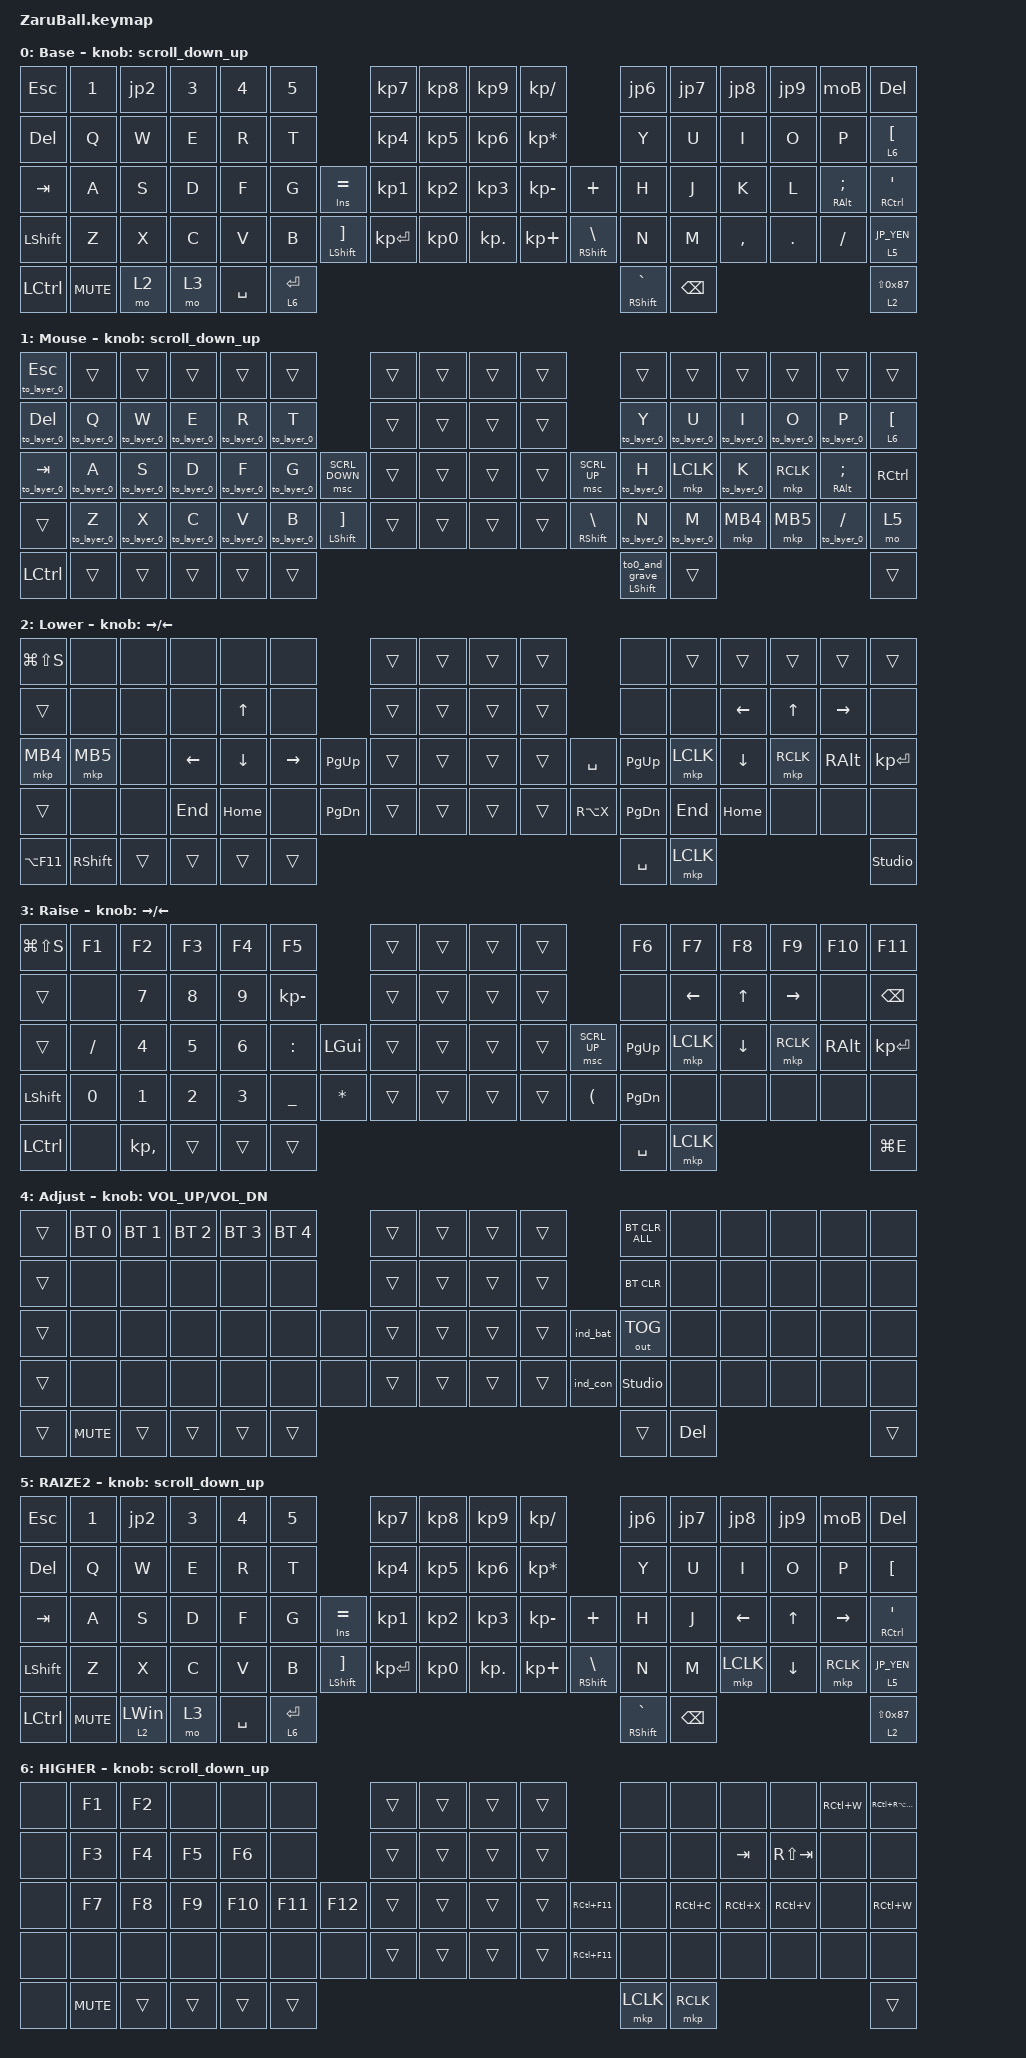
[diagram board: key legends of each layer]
        //#include <dt-bindings/zmk/mouse.h>

#include <behaviors/rgbled_widget.dtsi>
#include <input/processors.dtsi>
#include <dt-bindings/zmk/input_transform.h>
#include <behaviors.dtsi>
#include <dt-bindings/zmk/bt.h>
#include <dt-bindings/zmk/keys.h>
#include <dt-bindings/zmk/outputs.h>
#include <dt-bindings/zmk/pointing.h>

#define BASE     0
#define MOUSE    1
#define LOWER    2
#define RAISE    3
#define ADJUST   4
#define RAIZE2   5
#define HIGHER   6
#define SCROLL   2

// OS設定を日本語キーボードのまま使用するための変換定義
#define JP_DQUOTE       AT                // "
#define JP_AMPERSAND    CARET             // &
#define JP_QUOTE        AMPERSAND         // '
#define JP_EQUAL        UNDER             // =
#define JP_CARET        EQUAL             // ^
#define JP_YEN          0x89              // ¥
#define JP_PLUS         COLON             // +
#define JP_TILDE        PLUS              // ~
#define JP_PIPE         LS(0x89)          // |
#define JP_AT           LEFT_BRACKET      // @
#define JP_COLON        SINGLE_QUOTE      // :
#define JP_ASTERISK     DOUBLE_QUOTES     // *
#define JP_BACKQUOTE    LEFT_BRACE        // `
#define JP_UNDERSCORE   LS(0x87)          // _
#define JP_LBRACKET     RIGHT_BRACKET     // [
#define JP_RBRACKET     BACKSLASH         // ]
#define JP_LPAREN       ASTERISK          // (
#define JP_RPAREN       LEFT_PARENTHESIS  // )
#define JP_LBRACE       RIGHT_BRACE       // {
#define JP_RBRACE       PIPE              // }
#define JP_KANA         LANGUAGE_1        // かな
#define JP_EISU         LANGUAGE_2        // 英数
#define JP_HANZEN       GRAVE             // 半角/全角
#define JP_BSLH  INT1         // (backslash)

// スクロール量の設定

#define ZMK_POINTING_DEFAULT_SCRL_VAL 120


&trackball_listener {
    input-processors = <
        &zip_xy_transform (INPUT_TRANSFORM_XY_SWAP | INPUT_TRANSFORM_Y_INVERT | INPUT_TRANSFORM_X_INVERT)
        &zip_temp_layer MOUSE 700
    >;

    scroller {
        layers = <SCROLL>;
        input-processors = <
            &zip_xy_transform (INPUT_TRANSFORM_XY_SWAP | INPUT_TRANSFORM_X_INVERT)
            &zip_xy_scaler 1 20
            &zip_xy_to_scroll_mapper
        >;
    };
};

/ {
    conditional_layers {
        compatible = "zmk,conditional-layers";

        tri_layer {
            if-layers = <2 3>;
            then-layer = <4>;
        };
    };
};

/ {
    behaviors {
        // スクロール用のbehaviorの設定

        scroll_down_up: behavior_sensor_rotate_mouse_wheel_down_up {
            compatible = "zmk,behavior-sensor-rotate";
            #sensor-binding-cells = <0>;
            bindings = <&msc SCRL_DOWN>, <&msc SCRL_UP>;

            tap-ms = <20>; // スクロールのタップ時間
        };

        td0: tap_dance_0 {
            compatible = "zmk,behavior-tap-dance";
            #binding-cells = <0>;
            tapping-term-ms = <200>;
            bindings = <&mt LALT LANG2>, <&mo RAISE>, <&mo MOUSE>;
        };

        td1: tap_dance_1 {
            compatible = "zmk,behavior-tap-dance";
            #binding-cells = <0>;
            tapping-term-ms = <200>;
            bindings = <&mt RCTL LANG1>, <&mo RAISE>, <&mo MOUSE>;
        };

        jp2: jp2 {
            compatible = "zmk,behavior-mod-morph";
            #binding-cells = <0>;
            bindings = <&kp N2>, <&kp AT>;

            mods = <(MOD_LSFT|MOD_RSFT)>;
        };
        
        jp6: jp6 {
            compatible = "zmk,behavior-mod-morph";
            #binding-cells = <0>;
            bindings = <&kp N6>, <&kp CARET>;

            mods = <(MOD_LSFT|MOD_RSFT)>;
        };

        jp7: jp7 {
            compatible = "zmk,behavior-mod-morph";
            #binding-cells = <0>;
            bindings = <&kp N7>, <&kp AMPS>;

            mods = <(MOD_LSFT|MOD_RSFT)>;
        };

        jp8: jp8 {
            compatible = "zmk,behavior-mod-morph";
            #binding-cells = <0>;
            bindings = <&kp N8>, <&kp ASTRK>;

            mods = <(MOD_LSFT|MOD_RSFT)>;
        };

        jp9: jp9 {
            compatible = "zmk,behavior-mod-morph";
            #binding-cells = <0>;
            bindings = <&kp N9>, <&kp LPAR>;

            mods = <(MOD_LSFT|MOD_RSFT)>;
        };

        moA: moA {
            compatible = "zmk,behavior-mod-morph";
            #binding-cells = <0>;
            bindings = <&kp MINUS>, <&kp UNDERSCORE>;

            mods = <(MOD_LSFT|MOD_RSFT)>;
        };

        moB: moB {
            compatible = "zmk,behavior-mod-morph";
            #binding-cells = <0>;
            bindings = <&kp EQUAL>, <&kp MINUS>;

            mods = <(MOD_LSFT|MOD_RSFT)>;
        };

        moC: moC {
            compatible = "zmk,behavior-mod-morph";
            #binding-cells = <0>;
            bindings = <&kp INT3>, <&kp JP_PIPE>;

            mods = <(MOD_LSFT|MOD_RSFT)>;
        };

        moD: moD {
            compatible = "zmk,behavior-mod-morph";
            #binding-cells = <0>;
            bindings = <&kp LBKT>, <&kp LBRC>;

            mods = <(MOD_LSFT|MOD_RSFT)>;
        };

        moE: moE {
            compatible = "zmk,behavior-mod-morph";
            #binding-cells = <0>;
            bindings = <&kp RBKT>, <&kp RBRC>;

            mods = <(MOD_LSFT|MOD_RSFT)>;
        };

        moF: moF {
            compatible = "zmk,behavior-mod-morph";
            #binding-cells = <0>;
            bindings = <&kp SEMI>, <&kp KP_PLUS>;

            mods = <(MOD_LSFT|MOD_RSFT)>;
        };

        moG: moG {
            compatible = "zmk,behavior-mod-morph";
            #binding-cells = <0>;
            bindings = <&kp APOSTROPHE>, <&kp DQT>;

            mods = <(MOD_LSFT|MOD_RSFT)>;
        };

        moH: moH {
            compatible = "zmk,behavior-mod-morph";
            #binding-cells = <0>;
            bindings = <&kp BACKSLASH>, <&kp TILDE2>;

            mods = <(MOD_LSFT|MOD_RSFT)>;
        };

        moI: moI {
            compatible = "zmk,behavior-mod-morph";
            #binding-cells = <0>;
            bindings = <&kp JP_BSLH>, <&kp JP_UNDERSCORE>;

            mods = <(MOD_LSFT|MOD_RSFT)>;
        };

        // Customed Hold-Tap for SandS

        SandS: SandS {
            compatible = "zmk,behavior-hold-tap";
            #binding-cells = <2>;
            flavor = "tap-unless-interrupted";
            tapping-term-ms = <500>;
            quick-tap-ms = <500>;
            bindings = <&kp>, <&kp>;

            display-name = "SandS";
        };
        shift_to0_grave: shift_to0_grave {
            compatible = "zmk,behavior-hold-tap";
            #binding-cells = <2>;

            flavor = "hold-preferred";
            tapping-term-ms = <200>;

            bindings = <&kp>, <&to0_and_grave>;
        };
    };
};


&sl { release-after-ms = <250>; }; // time needed for double click (for mkp_exit_AML)
/ {
    macros {
        // When in AML, move to default layer when key (except mouse button) pressed

        to_layer_0: to_layer_0 {
            compatible = "zmk,behavior-macro-one-param";
            #binding-cells = <1>;
            bindings = <&tog MOUSE &macro_param_1to1 &kp MACRO_PLACEHOLDER>;
            label = "TO_layer_0";
        };

        // When LCLK pressed, exit AML (after 250ms cause by sticky layer

        mkp_exit_AML: mkp_exit_AML {
            compatible = "zmk,behavior-macro-one-param";
            #binding-cells = <1>;
            bindings =
                <&macro_press>,
                <&macro_param_1to1 &mkp MACRO_PLACEHOLDER>,
                <&macro_pause_for_release>,
                <&macro_release>,
                <&macro_param_1to1 &mkp MACRO_PLACEHOLDER>,
                <&macro_tap>,
                <&sl MOUSE>;

            label = "MKP_EXIT_AML";
        };
          // ★追加
                to0_and_grave: to0_and_grave {
                    compatible = "zmk,behavior-macro";
                    #binding-cells = <0>;

                    bindings =
                        <&to 0>,
                        <&kp GRAVE>;
    
                    label = "TO0_AND_GRAVE";
        };
    };
};

/ {
    keymap {
        compatible = "zmk,keymap";

        base_layer {
            display-name = "Base";
            sensor-bindings = <&scroll_down_up>;
            bindings = <
&kp ESC    &kp N1      &jp2    &kp N3        &kp N4          &kp N5                                  &kp KP_N7     &kp KP_N8  &kp KP_N9   &kp KP_DIVIDE                                        &jp6                      &jp7    &jp8       &jp9     &moB           &kp DEL
&kp DEL    &kp Q       &kp W   &kp E         &kp R           &kp T                                   &kp KP_N4     &kp KP_N5  &kp KP_N6   &kp KP_MULTIPLY                                      &kp Y                     &kp U   &kp I      &kp O    &kp P          &lt 6 JP_AT
&kp TAB    &kp A       &kp S   &kp D         &kp F           &kp G      &mt INS JP_CARET             &kp KP_N1     &kp KP_N2  &kp KP_N3   &kp KP_MINUS       &kp JP_TILDE                      &kp H                     &kp J   &kp K      &kp L    &mt RALT SEMI  &mt RCTRL JP_COLON
&kp LSHFT  &kp Z       &kp X   &kp C         &kp V           &kp B      &mt LSHFT JP_LBRACKET        &kp KP_ENTER  &kp KP_N0  &kp KP_DOT  &kp KP_PLUS        &mt RIGHT_SHIFT JP_RBRACKET       &kp N                     &kp M   &kp COMMA  &kp DOT  &kp FSLH       &lt 5 JP_YEN
&kp LCTRL  &kp C_MUTE  &mo 2   &mo 3  	     &kp SPACE       &lt 6 ENTER                                                                                                                       &mt RIGHT_SHIFT GRAVE     &kp BSPC                                   &lt 2 JP_UNDERSCORE
            >;
        };

        mouse_layer {
            display-name = "Mouse";
            sensor-bindings = <&scroll_down_up>;
            bindings = <
&to_layer_0 ESC           &trans           &trans              &trans                  &trans             &trans                                   &trans  &trans  &trans  &trans                                     &trans                     &trans          &trans              &trans          &trans              &trans
&to_layer_0 DELETE        &to_layer_0 Q    &to_layer_0 W       &to_layer_0 E           &to_layer_0 R      &to_layer_0 T                            &trans  &trans  &trans  &trans                                     &to_layer_0 Y              &to_layer_0 U   &to_layer_0 I       &to_layer_0 O   &to_layer_0 P       &lt 6 JP_AT
&to_layer_0 TAB           &to_layer_0 A    &to_layer_0 S       &to_layer_0 D           &to_layer_0 F      &to_layer_0 G   &msc SCRL_DOWN           &trans  &trans  &trans  &trans    &msc SCRL_UP                     &to_layer_0 H              &mkp LCLK       &to_layer_0 K       &mkp RCLK       &mt RALT SEMI       &kp RIGHT_CONTROL
&trans                    &to_layer_0 Z    &to_layer_0 X       &to_layer_0 C           &to_layer_0 V      &to_layer_0 B   &mt LSHFT JP_LBRACKET    &trans  &trans  &trans  &trans    &mt RIGHT_SHIFT JP_RBRACKET      &to_layer_0 N              &to_layer_0 M   &mkp MB4           &mkp MB5        &to_layer_0 FSLH     &mo 5
&kp LEFT_CONTROL          &trans           &trans              &trans                  &trans             &trans                                                                                                      &shift_to0_grave LSHFT 0   &trans                                                                  &trans
            >;
        };

        lower_layer {
            display-name = "Lower";
            sensor-bindings = <&inc_dec_kp RIGHT_ARROW LEFT_ARROW>;
            bindings = <
&kp LG(LS(S))  &none      &none     &none     &none     &none                     &trans  &trans  &trans  &trans                      &none          &trans          &trans       &trans        &trans         &trans
&trans         &none      &none     &none     &kp UP    &none                     &trans  &trans  &trans  &trans                      &none          &none           &kp LEFT     &kp UP_ARROW  &kp RIGHT      &none
&mkp MB4       &mkp MB5   &none     &kp LEFT  &kp DOWN  &kp RIGHT  &kp PG_UP      &trans  &trans  &trans  &trans    &kp SPACE         &kp PG_UP      &mkp LCLK       &kp DOWN     &mkp RCLK     &kp RIGHT_ALT  &kp KP_ENTER
&trans         &none      &none     &kp END   &kp HOME  &none      &kp PAGE_DOWN  &trans  &trans  &trans  &trans    &kp RA(X)         &kp PAGE_DOWN  &kp END         &kp HOME     &none         &none          &none
&kp LA(F11)    &kp RSHFT            &trans    &trans    &trans     &trans                                                             &kp SPACE      &mkp LCLK                                                 &studio_unlock
            >;
        };

         raise_layer {
            display-name = "Raise";
            sensor-bindings = <&inc_dec_kp RIGHT LEFT>;
            bindings = <
&kp LG(LS(S))  &kp F1     &kp F2         &kp F3         &kp F4      &kp F5                          &trans  &trans  &trans  &trans                           &kp F6         &kp F7     &kp F8        &kp F9     &kp F10        &kp F11
&trans         &none      &kp N7         &kp N8         &kp N9      &kp KP_MINUS                    &trans  &trans  &trans  &trans                           &none          &kp LEFT   &kp UP_ARROW  &kp RIGHT  &none          &kp BACKSPACE
&trans         &kp SLASH  &kp N4         &kp N5         &kp N6      &kp JP_PLUS   &kp LGUI          &trans  &trans  &trans  &trans  &msc SCRL_UP           &kp PG_UP      &mkp LCLK  &kp DOWN      &mkp RCLK  &kp RIGHT_ALT  &kp KP_ENTER
&kp LSHFT      &kp N0     &kp N1         &kp N2         &kp N3      &kp JP_EQUAL  &kp JP_LPAREN     &trans  &trans  &trans  &trans    &kp JP_RPAREN          &kp PAGE_DOWN  &none      &none         &none      &none          &none
&kp LCTRL      &none      &kp KP_COMMA   &trans         &trans      &trans                                                                                   &kp SPACE      &mkp LCLK                                          &kp LG(E)
            >;
        };

        adjust_layer {
            display-name = "Adjust";
            sensor-bindings = <&inc_dec_kp C_VOL_UP C_VOL_DN>;
            bindings = <
&trans  &bt BT_SEL 0  &bt BT_SEL 1  &bt BT_SEL 2  &bt BT_SEL 3  &bt BT_SEL 4            &trans  &trans  &trans  &trans              &bt BT_CLR_ALL  &none  &none  &none  &none  &none
&trans  &none         &none         &none         &none         &none                   &trans  &trans  &trans  &trans              &bt BT_CLR      &none  &none  &none  &none  &none
&trans  &none         &none         &none         &none         &none         &none     &trans  &trans  &trans  &trans    &ind_bat  &out OUT_TOG    &none  &none  &none  &none  &none
&trans  &none         &none         &none         &none         &none         &none     &trans  &trans  &trans  &trans    &ind_con  &studio_unlock  &none  &none  &none  &none  &none
&trans  &kp C_MUTE    &trans        &trans        &trans        &trans                                                              &trans          &kp DEL                     &trans
            >;
        };

        // Extra layer can be added in ZMK STUDIO

        raise2_layer {
            display-name = "RAIZE2";
            sensor-bindings = <&scroll_down_up>;
            bindings = <
&kp ESC    &kp N1      &jp2    &kp N3        &kp N4          &kp N5                                  &kp KP_N7     &kp KP_N8  &kp KP_N9   &kp KP_DIVIDE                                        &jp6          &jp7    &jp8       &jp9             &moB           &kp DEL
&kp DEL    &kp Q       &kp W   &kp E         &kp R           &kp T                                   &kp KP_N4     &kp KP_N5  &kp KP_N6   &kp KP_MULTIPLY                                      &kp Y         &kp U   &kp I      &kp O            &kp P          &kp JP_AT
&kp TAB    &kp A       &kp S   &kp D         &kp F           &kp G      &mt INS JP_CARET             &kp KP_N1     &kp KP_N2  &kp KP_N3   &kp KP_MINUS       &kp JP_TILDE                      &kp H         &kp J   &kp LEFT   &kp UP_ARROW     &kp RIGHT      &mt RCTRL JP_COLON
&kp LSHFT  &kp Z       &kp X   &kp C         &kp V           &kp B      &mt LSHFT JP_LBRACKET        &kp KP_ENTER  &kp KP_N0  &kp KP_DOT  &kp KP_PLUS        &mt RIGHT_SHIFT JP_RBRACKET       &kp N         &kp M   &mkp LCLK  &kp DOWN         &mkp RCLK      &lt 5 JP_YEN
&kp LCTRL  &kp C_MUTE          &lt 2 LWIN    &mo 3  	     &kp SPACE  &lt 6 ENTER                                                                          &mt RIGHT_SHIFT GRAVE             &kp BSPC                                                         &lt 2 JP_UNDERSCORE
            >;
        };

        higher_layer {
            display-name = "HIGHER";
            sensor-bindings = <&scroll_down_up>;
            bindings = <
&none  &kp F1      &kp F2  &none   &none    &none               &trans  &trans  &trans  &trans                 &none           &none      &none      &none        &kp RC(W)  &kp RC(RA(DELETE))
&none  &kp F3      &kp F4  &kp F5  &kp F6   &none               &trans  &trans  &trans  &trans                 &none           &none      &kp TAB    &kp RS(TAB)  &none      &none
&none  &kp F7      &kp F8  &kp F9  &kp F10  &kp F11  &kp F12    &trans  &trans  &trans  &trans    &kp RC(F11)  &none           &kp RC(C)  &kp RC(X)  &kp RC(V)    &none      &kp RC(W)
&none  &none       &none   &none   &none    &none    &none      &trans  &trans  &trans  &trans    &kp RC(F11)  &none           &none      &none      &none        &none      &none
&none  &kp C_MUTE          &trans  &trans   &trans   &trans                                       &mkp LCLK    &mkp RCLK                                                     &trans
            >;
        };
    };
};
